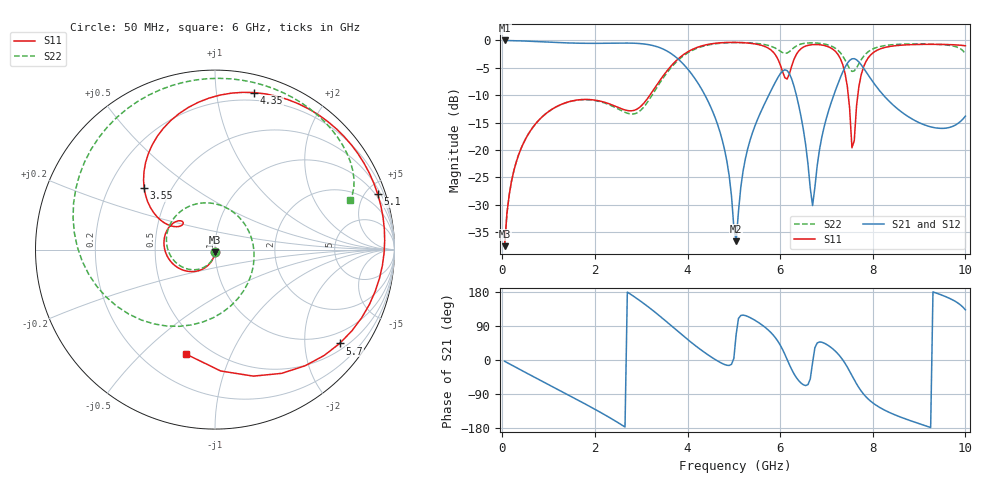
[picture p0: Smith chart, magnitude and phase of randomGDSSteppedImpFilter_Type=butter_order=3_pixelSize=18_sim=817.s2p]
! freq	dB(S11)	phase(S11)	dB(S12)	phase(S12)
!  dB(S21)	phase(S21)	dB(S22)	phase(S22)
!S-par simulation data
#  GHz  S  DB  R 50
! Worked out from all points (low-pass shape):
!   200 points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, 50 MHz to 10 GHz, reference 50 ohm
!   highest |S21| = -0.01 dB at 50 MHz (marker M1); lowest = -36.6 dB at 5.05 GHz (marker M2)
!   |S21| within 3 dB of the highest: start of sweep to 3.742 GHz
!   lowest |S11| = -37.5 dB at 50 MHz (marker M3), VSWR 1.03, Z = 49.9 - j1.33 ohm
!   |S11| at or under -10 dB: start of sweep to 3.186 GHz; 7.471 GHz to 7.677 GHz (206.6 MHz wide, 2.73 % of centre)
!   |S22| runs from -37.5 to -0.4 dB; largest |S21 - S12| = 0
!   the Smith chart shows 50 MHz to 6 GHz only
!   S11 on the Smith chart (normalised r, x): 50 MHz: 1.00, -0.03; 3.55 GHz: 0.35, +0.33; 4.35 GHz: 0.14, +1.27; 5.1 GHz: 0.80, +5.95; 5.7 GHz: 0.67, -2.85; 6 GHz: 0.38, -0.69
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0.05  -37.52 -92.4  -0.01 -3.4  -0.01 -3.4  -37.52 -92.7
0.5  -18.01 -121.7  -0.12 -32.8  -0.12 -32.8  -18.01 -124.8
1.75  -10.77 166.5  -0.52 -113.4  -0.52 -113.4  -10.81 145.8
2.7  -12.79 140.5  -0.48 179.2  -0.48 179.2  -13.28 37.8
3.4  -7.34 146.9  -1.32 116.1  -1.32 116.1  -7.77 -99.4
3.55  -5.62 138.9  -1.91 100.8  -1.91 100.8  -5.96 -122.2
4.35  -0.90 76.0  -9.57 21.4  -9.57 21.4  -1.03 140.9
4.8  -0.39 41.2  -19.93 -11.9  -19.93 -11.9  -0.46 100.5
5.05  -0.36 22.5  -36.62 67.5  -36.62 67.5  -0.39 81.0
5.1  -0.37 18.8  -31.20 109.5  -31.20 109.5  -0.39 77.3
5.7  -1.22 -37.0  -10.92 83.7  -10.92 83.7  -0.82 36.2
6  -4.38 -105.5  -6.11 39.7  -6.11 39.7  -1.95 20.1
6.15  -7.05 158.2  -5.50 1.6  -5.50 1.6  -2.30 20.0
6.3  -3.43 68.5  -8.39 -36.7  -8.39 -36.7  -1.30 16.7
6.7  -0.77 -11.6  -30.12 -7.3  -30.12 -7.3  -0.45 -9.0
7.15  -1.68 -61.6  -10.15 27.9  -10.15 27.9  -1.21 -37.3
7.45  -8.36 -118.7  -4.17 -18.6  -4.17 -18.6  -4.38 -50.8
7.55  -19.57 -180.0  -3.35 -40.9  -3.35 -40.9  -5.65 -42.4
7.9  -3.19 -8.4  -6.29 -102.8  -6.29 -102.8  -2.07 -36.0
8.35  -1.13 -45.7  -11.06 -137.9  -11.06 -137.9  -0.84 -58.2
9.45  -0.72 -89.8  -16.03 173.1  -16.03 173.1  -0.74 -103.2
10  -0.98 -106.4  -13.81 132.4  -13.81 132.4  -2.42 -146.2
